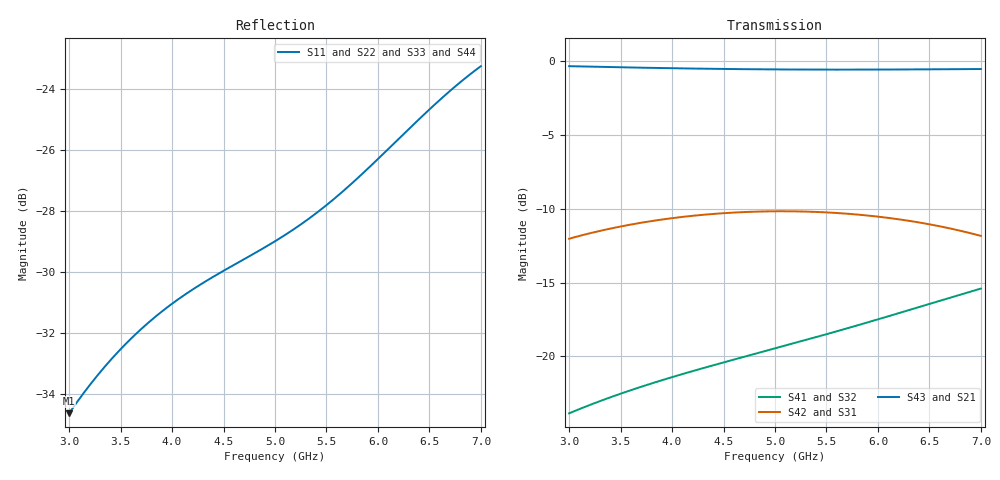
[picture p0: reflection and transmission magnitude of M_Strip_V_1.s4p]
! Created Wed May  8 15:04:03 2024
# hz S ma R 50
! 4 Port Network Data from SP1.SP block
! freq  magS11  angS11  magS12  angS12  magS13  angS13  magS14  angS14
!  magS21  angS21  magS22  angS22  magS23  angS23  magS24  angS24
!  magS31  angS31  magS32  angS32  magS33  angS33  magS34  angS34
!  magS41  angS41  magS42  angS42  magS43  angS43  magS44  angS44
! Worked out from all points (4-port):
!   401 points, 3 GHz to 7 GHz, reference 50 ohm
!   strongest paths, dB at 3 GHz, 4 GHz, 5 GHz, 6 GHz, 7 GHz:
!     S43: -0.3, -0.5, -0.6, -0.6, -0.5
!     S21: -0.3, -0.5, -0.6, -0.6, -0.5
!     S42: -12.0, -10.6, -10.2, -10.5, -11.8
!     S31: -12.0, -10.6, -10.2, -10.5, -11.8
!     S41: -23.9, -21.4, -19.5, -17.5, -15.4
!     S32: -23.9, -21.4, -19.5, -17.5, -15.4
!   lowest |S11| = -34.6 dB at 3 GHz (marker M1), VSWR 1.04, Z = 49.7 - j1.82 ohm
!   |S11| at or under -10 dB: start of sweep to end of sweep
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3e9  0.01855 -98.7  0.9618 -126.0  0.2503 -36.2  0.06409 142.1
     0.9618 -126.0  0.01855 -98.7  0.06409 142.1  0.2503 -36.2
     0.2503 -36.2  0.06409 142.1  0.01855 -98.7  0.9618 -126.0
     0.06409 142.1  0.2503 -36.2  0.9618 -126.0  0.01855 -98.7
3.91e9  0.02732 -143.3  0.9476 -164.2  0.291 -74.4  0.08314 103.7
        0.9476 -164.2  0.02732 -143.3  0.08314 103.7  0.291 -74.4
        0.291 -74.4  0.08314 103.7  0.02732 -143.3  0.9476 -164.2
        0.08314 103.7  0.291 -74.4  0.9476 -164.2  0.02732 -143.3
4.77e9  0.03371 165.2  0.939 159.6  0.3088 -110.4  0.1011 69.0
        0.939 159.6  0.03371 165.2  0.1011 69.0  0.3088 -110.4
        0.3088 -110.4  0.1011 69.0  0.03371 165.2  0.939 159.6
        0.1011 69.0  0.3088 -110.4  0.939 159.6  0.03371 165.2
5.33e9  0.0387 126.6  0.9366 135.8  0.309 -133.9  0.1143 46.9
        0.9366 135.8  0.0387 126.6  0.1143 46.9  0.309 -133.9
        0.309 -133.9  0.1143 46.9  0.0387 126.6  0.9366 135.8
        0.1143 46.9  0.309 -133.9  0.9366 135.8  0.0387 126.6
5.96e9  0.04775 82.2  0.9366 108.9  0.2984 -160.4  0.1321 21.9
        0.9366 108.9  0.04775 82.2  0.1321 21.9  0.2984 -160.4
        0.2984 -160.4  0.1321 21.9  0.04775 82.2  0.9366 108.9
        0.1321 21.9  0.2984 -160.4  0.9366 108.9  0.04775 82.2
6.48e9  0.05802 47.9  0.9382 86.3  0.2809 177.8  0.1497 0.6
        0.9382 86.3  0.05802 47.9  0.1497 0.6  0.2809 177.8
        0.2809 177.8  0.1497 0.6  0.05802 47.9  0.9382 86.3
        0.1497 0.6  0.2809 177.8  0.9382 86.3  0.05802 47.9
7e9  0.06882 16.3  0.9406 63.5  0.2558 155.9  0.1696 -21.6
     0.9406 63.5  0.06882 16.3  0.1696 -21.6  0.2558 155.9
     0.2558 155.9  0.1696 -21.6  0.06882 16.3  0.9406 63.5
     0.1696 -21.6  0.2558 155.9  0.9406 63.5  0.06882 16.3
